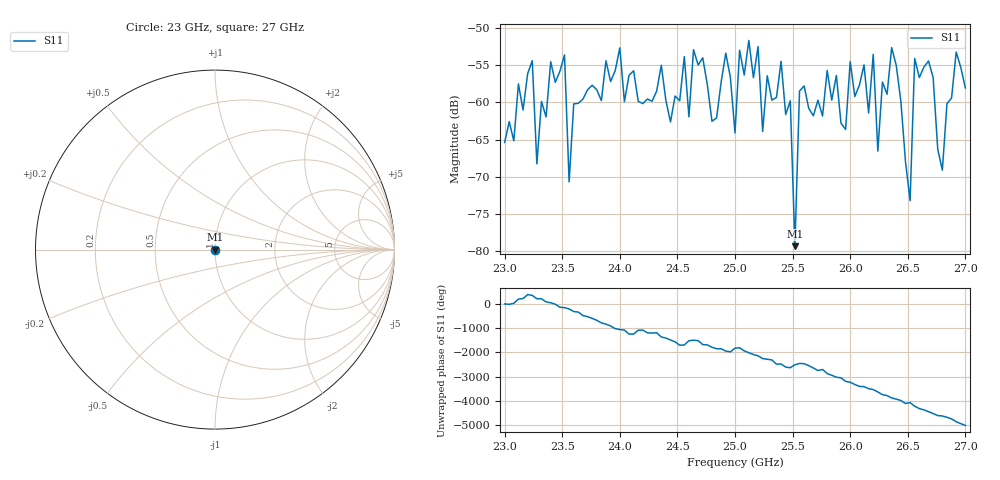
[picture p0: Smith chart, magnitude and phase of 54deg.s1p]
#  HZ  S  RI  R  50.00
! Rohde & Schwarz ZVA40 4Ports - Version 3.90 - 1145.1110k42 SN: 100403
! Date: 2023-09-26 11:08:48
! Measurement: S12
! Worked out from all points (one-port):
!   101 points, 23 GHz to 27 GHz, reference 50 ohm
!   lowest |S11| = -79.3 dB at 25.52 GHz (marker M1), VSWR 1.00, Z = 50 + j0.00136 ohm
!   |S11| at or under -10 dB: start of sweep to end of sweep
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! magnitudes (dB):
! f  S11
! 23 GHz  -65.4
! 23.24 GHz  -54.4
! 23.28 GHz  -68.3
! 23.52 GHz  -53.6
! 23.56 GHz  -70.7
! 23.6 GHz  -60.2
! 24 GHz  -52.7
! 24.52 GHz  -59.8
! 24.92 GHz  -53.4
! 25 GHz  -64.1
! 25.04 GHz  -53.0
! 25.2 GHz  -52.5
! 25.24 GHz  -63.9
! 25.4 GHz  -54.5
! 25.48 GHz  -59.8
! 25.52 GHz  -79.3
! 25.56 GHz  -58.5
! 25.96 GHz  -63.6
! 26 GHz  -54.5
! 26.16 GHz  -61.4
! 26.2 GHz  -53.6
! 26.24 GHz  -66.6
! 26.36 GHz  -52.7
! 26.52 GHz  -73.2
! 26.56 GHz  -54.1
! 26.8 GHz  -69.1
! 26.92 GHz  -53.3
! 27 GHz  -58.1
